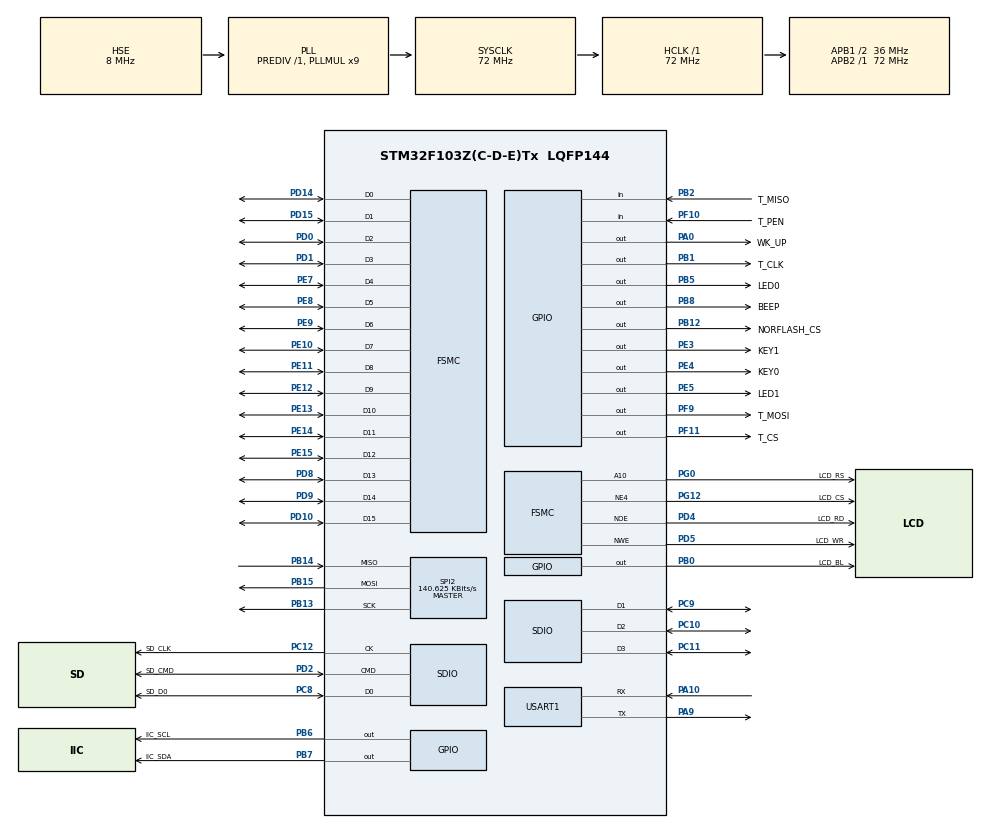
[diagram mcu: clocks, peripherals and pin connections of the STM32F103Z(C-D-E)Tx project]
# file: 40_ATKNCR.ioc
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FATFS._CODE_PAGE=936
FATFS._FS_LOCK=0
FATFS._LFN_UNICODE=0
FATFS._MAX_SS=512
FATFS._STRF_ENCODE=0
FATFS._USE_LABEL=1
FATFS._USE_LFN=3
FATFS._VOLUMES=2
FSMC.AddressSetupTime1=0
FSMC.BusTurnAroundDuration1=15
FSMC.DataSetupTime1=15
FSMC.ExtendedAddressSetupTime1=0
FSMC.ExtendedDataSetupTime1=1
FSMC.ExtendedMode1=FSMC_EXTENDED_MODE_ENABLE
Mcu.Family=STM32F1
Mcu.Name=STM32F103Z(C-D-E)Tx
Mcu.Package=LQFP144
NVIC.PriorityGroup=NVIC_PRIORITYGROUP_2
NVIC.TIM4_IRQn=true\:2\:2\:true\:false\:true\:true\:true\:true
NVIC.USART1_IRQn=true\:2\:2\:true\:false\:true\:true\:true\:true
OSC_IN.Mode=HSE-External-Oscillator
OSC_IN.Signal=RCC_OSC_IN
OSC_OUT.Mode=HSE-External-Oscillator
OSC_OUT.Signal=RCC_OSC_OUT
PA0-WKUP.GPIO_Label=WK_UP
PA0-WKUP.GPIO_PuPd=GPIO_PULLDOWN
PA0-WKUP.GPIO_Speed=GPIO_SPEED_FREQ_HIGH
PA0-WKUP.PinState=GPIO_PIN_RESET
PA0-WKUP.Signal=GPIO_Output
PA10.Mode=Asynchronous
PA10.Signal=USART1_RX
PA13.Mode=Serial_Wire
PA13.Signal=SYS_JTMS-SWDIO
PA14.Mode=Serial_Wire
PA14.Signal=SYS_JTCK-SWCLK
PA9.Mode=Asynchronous
PA9.Signal=USART1_TX
PB0.GPIO_Label=LCD_BL
PB0.GPIO_PuPd=GPIO_PULLUP
PB0.GPIO_Speed=GPIO_SPEED_FREQ_HIGH
PB0.PinState=GPIO_PIN_SET
PB0.Signal=GPIO_Output
PB1.GPIO_Label=T_CLK
PB1.GPIO_ModeDefaultOutputPP=GPIO_MODE_OUTPUT_PP
PB1.GPIO_PuPd=GPIO_PULLUP
PB1.GPIO_Speed=GPIO_SPEED_FREQ_HIGH
PB1.PinState=GPIO_PIN_SET
PB1.Signal=GPIO_Output
PB12.GPIO_Label=NORFLASH_CS
PB12.GPIO_PuPd=GPIO_PULLUP
PB12.GPIO_Speed=GPIO_SPEED_FREQ_HIGH
PB12.PinState=GPIO_PIN_SET
PB12.Signal=GPIO_Output
PB13.Mode=Full_Duplex_Master
PB13.Signal=SPI2_SCK
PB14.Mode=Full_Duplex_Master
PB14.Signal=SPI2_MISO
PB15.Mode=Full_Duplex_Master
PB15.Signal=SPI2_MOSI
PB2.GPIO_Label=T_MISO
PB2.GPIO_PuPd=GPIO_PULLUP
PB2.Signal=GPIO_Input
PB5.GPIO_Label=LED0
PB5.GPIO_PuPd=GPIO_PULLUP
PB5.GPIO_Speed=GPIO_SPEED_FREQ_HIGH
PB5.PinState=GPIO_PIN_SET
PB5.Signal=GPIO_Output
PB6.GPIO_Label=IIC_SCL
PB6.GPIO_PuPd=GPIO_PULLUP
PB6.GPIO_Speed=GPIO_SPEED_FREQ_HIGH
PB6.PinState=GPIO_PIN_SET
PB6.Signal=GPIO_Output
PB7.GPIO_Label=IIC_SDA
PB7.GPIO_ModeDefaultOutputPP=GPIO_MODE_OUTPUT_OD
PB7.GPIO_PuPd=GPIO_PULLUP
PB7.GPIO_Speed=GPIO_SPEED_FREQ_HIGH
PB7.PinState=GPIO_PIN_SET
PB7.Signal=GPIO_Output
PB8.GPIO_Label=BEEP
PB8.GPIO_ModeDefaultOutputPP=GPIO_MODE_OUTPUT_PP
PB8.GPIO_PuPd=GPIO_PULLDOWN
PB8.GPIO_Speed=GPIO_SPEED_FREQ_HIGH
PB8.PinState=GPIO_PIN_RESET
PB8.Signal=GPIO_Output
PC10.Mode=SD_4_bits_Wide_bus
PC10.Signal=SDIO_D2
PC11.Mode=SD_4_bits_Wide_bus
PC11.Signal=SDIO_D3
PC12.GPIO_Label=SD_CLK
PC12.Mode=SD_4_bits_Wide_bus
PC12.Signal=SDIO_CK
PC14-OSC32_IN.Mode=LSE-External-Oscillator
PC14-OSC32_IN.Signal=RCC_OSC32_IN
PC15-OSC32_OUT.Mode=LSE-External-Oscillator
PC15-OSC32_OUT.Signal=RCC_OSC32_OUT
PC8.GPIO_Label=SD_D0
PC8.Mode=SD_4_bits_Wide_bus
PC8.Signal=SDIO_D0
PC9.Mode=SD_4_bits_Wide_bus
PC9.Signal=SDIO_D1
PD0.Signal=FSMC_D2_DA2
PD1.Signal=FSMC_D3_DA3
PD10.Signal=FSMC_D15_DA15
PD14.Signal=FSMC_D0_DA0
PD15.Signal=FSMC_D1_DA1
PD2.GPIO_Label=SD_CMD
PD2.Mode=SD_4_bits_Wide_bus
PD2.Signal=SDIO_CMD
PD4.GPIO_Label=LCD_RD
PD4.Signal=FSMC_NOE
PD5.GPIO_Label=LCD_WR
PD5.Signal=FSMC_NWE
PD8.Signal=FSMC_D13_DA13
PD9.Signal=FSMC_D14_DA14
PE10.Signal=FSMC_D7_DA7
PE11.Signal=FSMC_D8_DA8
PE12.Signal=FSMC_D9_DA9
PE13.Signal=FSMC_D10_DA10
PE14.Signal=FSMC_D11_DA11
PE15.Signal=FSMC_D12_DA12
PE3.GPIO_Label=KEY1
PE3.GPIO_PuPd=GPIO_PULLUP
PE3.GPIO_Speed=GPIO_SPEED_FREQ_HIGH
PE3.PinState=GPIO_PIN_SET
PE3.Signal=GPIO_Output
PE4.GPIO_Label=KEY0
PE4.GPIO_PuPd=GPIO_PULLUP
PE4.GPIO_Speed=GPIO_SPEED_FREQ_HIGH
PE4.PinState=GPIO_PIN_SET
PE4.Signal=GPIO_Output
PE5.GPIO_Label=LED1
PE5.GPIO_PuPd=GPIO_PULLUP
PE5.GPIO_Speed=GPIO_SPEED_FREQ_HIGH
PE5.PinState=GPIO_PIN_SET
PE5.Signal=GPIO_Output
PE7.Signal=FSMC_D4_DA4
PE8.Signal=FSMC_D5_DA5
PE9.Signal=FSMC_D6_DA6
PF10.GPIO_Label=T_PEN
PF10.GPIO_PuPd=GPIO_PULLUP
PF10.Signal=GPIO_Input
PF11.GPIO_Label=T_CS
PF11.GPIO_PuPd=GPIO_PULLUP
PF11.GPIO_Speed=GPIO_SPEED_FREQ_HIGH
PF11.PinState=GPIO_PIN_SET
PF11.Signal=GPIO_Output
PF9.GPIO_Label=T_MOSI
PF9.GPIO_PuPd=GPIO_PULLUP
PF9.GPIO_Speed=GPIO_SPEED_FREQ_HIGH
PF9.PinState=GPIO_PIN_SET
PF9.Signal=GPIO_Output
PG0.GPIO_Label=LCD_RS
PG0.Signal=FSMC_A10
PG12.GPIO_Label=LCD_CS
PG12.Mode=NorPsramChipSelect4_1
PG12.Signal=FSMC_NE4
ProjectManager.HeapSize=0x1000
ProjectManager.StackSize=0x400
ProjectManager.TargetToolchain=STM32CubeIDE
RCC.AHBFreq_Value=72000000
RCC.APB1CLKDivider=RCC_HCLK_DIV2
RCC.APB1Freq_Value=36000000
RCC.APB1TimFreq_Value=72000000
RCC.APB2Freq_Value=72000000
RCC.APB2TimFreq_Value=72000000
RCC.HCLKFreq_Value=72000000
RCC.PLLMUL=RCC_PLL_MUL9
RCC.PLLSourceVirtual=RCC_PLLSOURCE_HSE
RCC.SYSCLKFreq_VALUE=72000000
RCC.SYSCLKSource=RCC_SYSCLKSOURCE_PLLCLK
RCC.USBFreq_Value=72000000
SDIO.ClockDiv=0x04
SDIO.HardwareFlowControl=SDIO_HARDWARE_FLOW_CONTROL_ENABLE
SH.FSMC_A10.0=FSMC_A10,A10_1
SH.FSMC_D0_DA0.0=FSMC_D0,16b-d1
SH.FSMC_D10_DA10.0=FSMC_D10,16b-d1
SH.FSMC_D11_DA11.0=FSMC_D11,16b-d1
SH.FSMC_D12_DA12.0=FSMC_D12,16b-d1
SH.FSMC_D13_DA13.0=FSMC_D13,16b-d1
SH.FSMC_D14_DA14.0=FSMC_D14,16b-d1
SH.FSMC_D15_DA15.0=FSMC_D15,16b-d1
SH.FSMC_D1_DA1.0=FSMC_D1,16b-d1
SH.FSMC_D2_DA2.0=FSMC_D2,16b-d1
SH.FSMC_D3_DA3.0=FSMC_D3,16b-d1
SH.FSMC_D4_DA4.0=FSMC_D4,16b-d1
SH.FSMC_D5_DA5.0=FSMC_D5,16b-d1
SH.FSMC_D6_DA6.0=FSMC_D6,16b-d1
SH.FSMC_D7_DA7.0=FSMC_D7,16b-d1
SH.FSMC_D8_DA8.0=FSMC_D8,16b-d1
SH.FSMC_D9_DA9.0=FSMC_D9,16b-d1
SH.FSMC_NOE.0=FSMC_NOE,Lcd1
SH.FSMC_NWE.0=FSMC_NWE,Lcd1
SPI2.BaudRatePrescaler=SPI_BAUDRATEPRESCALER_256
SPI2.CLKPhase=SPI_PHASE_2EDGE
SPI2.CLKPolarity=SPI_POLARITY_HIGH
SPI2.CalculateBaudRate=140.625 KBits/s
SPI2.Direction=SPI_DIRECTION_2LINES
SPI2.Mode=SPI_MODE_MASTER
SPI2.VirtualType=VM_MASTER
TIM4.AutoReloadPreload=TIM_AUTORELOAD_PRELOAD_ENABLE
TIM4.Period=1000 - 1
TIM4.Prescaler=720 - 1
USART1.VirtualMode=VM_ASYNC
VP_FATFS_VS_Generic.Mode=User_defined
VP_TIM4_VS_ClockSourceINT.Mode=Internal
board=custom

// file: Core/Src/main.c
/* USER CODE BEGIN Header */
/**
 ****************************************************************************************************
 * @file        main.c
 * @author      正点原子团队(ALIENTEK)
 * @version     V1.0
 * @date        2024-01-01
 * @brief       手写识别 实验
 * @license     Copyright (c) 2020-2032, 广州市星翼电子科技有限公司
 ****************************************************************************************************
 * @attention
 *
 * 实验平台:正点原子 STM32F103开发板
 * 在线视频:www.yuanzige.com
 * 技术论坛:www.openedv.com
 * 公司网址:www.alientek.com
 * 购买地址:openedv.taobao.com
 *
 ****************************************************************************************************
 */
/* USER CODE END Header */
#include "main.h"
#include "fatfs.h"
#include "sdio.h"
#include "spi.h"
#include "tim.h"
#include "usart.h"
#include "gpio.h"
#include "fsmc.h"

/* USER CODE BEGIN Includes */
#include "../../BSP/LED/led.h"
#include "../../BSP/KEY/key.h"
#include "../../BSP/LCD/lcd.h"
#include "../../BSP/NORFLASH/norflash.h"
#include "../../BSP/TOUCH/touch.h"
#include "../../SYSTEM/delay/delay.h"
#include "../../ATK_Middlewares/MALLOC/malloc.h"
#include "../../FatFs/exfuns/exfuns.h"
#include "../../ATK_Middlewares/TEXT/text.h"
#include "../../ATK_Middlewares/ATKNCR/atk_ncr.h"
#include "ff.h"
/* USER CODE END Includes */

/* USER CODE BEGIN PTD */
/* 最大记录的轨迹点数(输入数据) */
atk_ncr_point ncr_input_buf[200];
/* USER CODE END PTD */

/* USER CODE BEGIN PD */

/**
 * @brief       画粗线
 * @param       x1,y1: 起点坐标
 * @param       x2,y2: 终点坐标
 * @param       size : 线条粗细程度
 * @param       color: 线的颜色
 * @retval      无
 */
void lcd_draw_bline(uint16_t x1, uint16_t y1, uint16_t x2, uint16_t y2, uint8_t size, uint16_t color)
{
    uint16_t t;
    int xerr = 0, yerr = 0, delta_x, delta_y, distance;
    int incx, incy, row, col;

    if (x1 < size || x2 < size || y1 < size || y2 < size)return;

    delta_x = x2 - x1;  /* 计算坐标增量 */
    delta_y = y2 - y1;
    row = x1;
    col = y1;

    if (delta_x > 0)incx = 1;       /* 设置单步方向 */
    else if (delta_x == 0)incx = 0; /* 垂直线 */
    else
    {
        incx = -1;
        delta_x = -delta_x;
    }

    if (delta_y > 0)
    {
        incy = 1;
    }
    else if (delta_y == 0)
    {
        incy = 0;   /* 水平线 */
    }
    else
    {
        incy = -1;
        delta_y = -delta_y;
    }

    if ( delta_x > delta_y)distance = delta_x; /* 选取基本增量坐标轴 */
    else distance = delta_y;

    for (t = 0; t <= distance + 1; t++ )    /* 画线输出 */
    {
        lcd_fill_circle(row, col, size, color); /* 画点 */
        xerr += delta_x ;
        yerr += delta_y ;

        if (xerr > distance)
        {
            xerr -= distance;
            row += incx;
        }

        if (yerr > distance)
        {
            yerr -= distance;
            col += incy;
        }
    }
}

/* USER CODE END PD */

void SystemClock_Config(void);

int main(void)
{
  /* USER CODE BEGIN 1 */
    uint8_t i = 0;
    uint8_t tcnt = 0;
    char sbuf[10];
    uint8_t key;
    uint16_t pcnt = 0;
    uint8_t mode = 4;                   /* 默认是混合模式 */
    uint16_t lastpos[2];                /* 最后一次的数据 */
  /* USER CODE END 1 */

  /* MCU Configuration--------------------------------------------------------*/

  /* Reset of all peripherals, Initializes the Flash interface and the Systick. */
  HAL_Init();

  /* Configure the system clock */
  SystemClock_Config();

  /* USER CODE BEGIN SysInit */
  delay_init(72);						   	/* 初始化延时函数 */
  /* USER CODE END SysInit */

  /* Initialize all configured peripherals */
  MX_GPIO_Init();
  MX_FSMC_Init();
  MX_USART1_UART_Init();
  MX_SDIO_SD_Init();
  MX_FATFS_Init();
  MX_SPI2_Init();
  MX_TIM4_Init();
  /* USER CODE BEGIN 2 */
  lcd_init();                         		/* 初始化LCD */
  norflash_init();                    		/* 初始化NORFLASH */
  tp_dev.init();                            /* 初始化触摸屏 */
  my_mem_init(SRAMIN);               		/* 初始化内部SRAM内存池 */
  exfuns_init();                 			/* 为fatfs相关变量申请内存 */

  f_mount(fs[0], "0:", 1);       			/* 挂载SD卡 */
  f_mount(fs[1], "1:", 1);       			/* 挂载SPI_FLASH卡 */
  alientek_ncr_init();                		/* 初始化手写识别 */
  while (fonts_init())                		/* 检查字库 */
  {
      lcd_show_string(60, 50, 200, 16, 16, "Font Error!", RED);
      delay_ms(200);
      lcd_fill(60, 50, 240, 66, WHITE); /* 清除显示 */
      delay_ms(200);
  }

RESTART:
  text_show_string(60, 10, 200, 16, "正点原子STM32开发板", 16, 0, RED);
  text_show_string(60, 30, 200, 16, "手写识别实验", 16, 0, RED);
  text_show_string(60, 50, 200, 16, "正点原子@ALIENTEK", 16, 0, RED);
  text_show_string(60, 70, 200, 16, "KEY0:MODE KEY1:Adjust", 16, 0, RED);
  text_show_string(60, 90, 200, 16, "识别结果:", 16, 0, RED);
  lcd_draw_rectangle(19, 114, lcddev.width - 20, lcddev.height - 5, RED);

  text_show_string(96, 207, 200, 16, "手写区", 16, 0, BLUE);
  tcnt = 100;

  /* USER CODE END 2 */

  /* Infinite loop */
  /* USER CODE BEGIN WHILE */
  while (1)
  {
	  key = key_scan(0);

	  if (key == KEY1_PRES && (tp_dev.touchtype & 0X80) == 0)
	  {
		  tp_adjust();        /* 屏幕校准 */
		  lcd_clear(WHITE);
		  goto RESTART;       /* 重新加载界面 */
	  }

	  if (key == KEY0_PRES)
	  {
		  lcd_fill(20, 115, 219, 314, WHITE); /* 清除当前显示 */
		  mode++;

		  if (mode > 4)mode = 1;

		  switch (mode)
		  {
			  case 1:
				  text_show_string(80, 207, 200, 16, "仅识别数字", 16, 0, BLUE);
				  break;

			  case 2:
				  text_show_string(64, 207, 200, 16, "仅识别大写字母", 16, 0, BLUE);
				  break;

			  case 3:
				  text_show_string(64, 207, 200, 16, "仅识别小写字母", 16, 0, BLUE);
				  break;

			  case 4:
				  text_show_string(88, 207, 200, 16, "全部识别", 16, 0, BLUE);
				  break;
		  }

		  tcnt = 100;
	  }

	  tp_dev.scan(0); /* 扫描 */

	  if (tp_dev.sta & TP_PRES_DOWN)  /* 有按键被按下 */
	  {
		  delay_ms(1);    /* 必要的延时, 否则老认为有按键按下 */
		  tcnt = 0;       /* 松开时的计数器清空 */

		  if ((tp_dev.x[0] < (lcddev.width - 20 - 2) && tp_dev.x[0] >= (20 + 2)) && (tp_dev.y[0] < (lcddev.height - 5 - 2) && tp_dev.y[0] >= (115 + 2)))
		  {
			  if (lastpos[0] == 0XFFFF)
			  {
				  lastpos[0] = tp_dev.x[0];
				  lastpos[1] = tp_dev.y[0];
			  }

			  lcd_draw_bline(lastpos[0], lastpos[1], tp_dev.x[0], tp_dev.y[0], 2, BLUE);  /* 画线 */
			  lastpos[0] = tp_dev.x[0];
			  lastpos[1] = tp_dev.y[0];

			  if (pcnt < 200) /* 总点数少于200 */
			  {
				  if (pcnt)
				  {
					  if ((ncr_input_buf[pcnt - 1].y != tp_dev.y[0]) && (ncr_input_buf[pcnt - 1].x != tp_dev.x[0])) /* x,y不相等 */
					  {
						  ncr_input_buf[pcnt].x = tp_dev.x[0];
						  ncr_input_buf[pcnt].y = tp_dev.y[0];
						  pcnt++;
					  }
				  }
				  else
				  {
					  ncr_input_buf[pcnt].x = tp_dev.x[0];
					  ncr_input_buf[pcnt].y = tp_dev.y[0];
					  pcnt++;
				  }
			  }
		  }
	  }
	  else    /* 按键松开了 */
	  {
		  lastpos[0] = 0XFFFF;
		  tcnt++;
		  delay_ms(10);
		  /* 延时识别 */
		  i++;

		  if (tcnt == 40)
		  {
			  if (pcnt)   /* 有有效的输入 */
			  {
				  printf("总点数:%d\r\n", pcnt);
				  alientek_ncr(ncr_input_buf, pcnt, 6, mode, sbuf);
				  printf("识别结果:%s\r\n", sbuf);
				  pcnt = 0;
				  lcd_show_string(60 + 72, 90, 200, 16, 16, sbuf, BLUE);
			  }

			  lcd_fill(20, 115, lcddev.width - 20 - 1, lcddev.height - 5 - 1, WHITE);
		  }
	  }

	  if (i == 30)
	  {
		  i = 0;
		  LED0_TOGGLE();
	  }
    /* USER CODE END WHILE */

  }
}

void SystemClock_Config(void)
{
  RCC_OscInitTypeDef RCC_OscInitStruct = {0};
  RCC_ClkInitTypeDef RCC_ClkInitStruct = {0};

  /** Initializes the RCC Oscillators according to the specified parameters
  * in the RCC_OscInitTypeDef structure.
  */
  RCC_OscInitStruct.OscillatorType = RCC_OSCILLATORTYPE_HSE;
  RCC_OscInitStruct.HSEState = RCC_HSE_ON;
  RCC_OscInitStruct.HSEPredivValue = RCC_HSE_PREDIV_DIV1;
  RCC_OscInitStruct.HSIState = RCC_HSI_ON;
  RCC_OscInitStruct.PLL.PLLState = RCC_PLL_ON;
  RCC_OscInitStruct.PLL.PLLSource = RCC_PLLSOURCE_HSE;
  RCC_OscInitStruct.PLL.PLLMUL = RCC_PLL_MUL9;
  if (HAL_RCC_OscConfig(&RCC_OscInitStruct) != HAL_OK)
  {
    Error_Handler();
  }

  /** Initializes the CPU, AHB and APB buses clocks
  */
  RCC_ClkInitStruct.ClockType = RCC_CLOCKTYPE_HCLK|RCC_CLOCKTYPE_SYSCLK
                              |RCC_CLOCKTYPE_PCLK1|RCC_CLOCKTYPE_PCLK2;
  RCC_ClkInitStruct.SYSCLKSource = RCC_SYSCLKSOURCE_PLLCLK;
  RCC_ClkInitStruct.AHBCLKDivider = RCC_SYSCLK_DIV1;
  RCC_ClkInitStruct.APB1CLKDivider = RCC_HCLK_DIV2;
  RCC_ClkInitStruct.APB2CLKDivider = RCC_HCLK_DIV1;

  if (HAL_RCC_ClockConfig(&RCC_ClkInitStruct, FLASH_LATENCY_2) != HAL_OK)
  {
    Error_Handler();
  }
}

void Error_Handler(void)
{
  __disable_irq();
  while (1)
  {
  }
}
